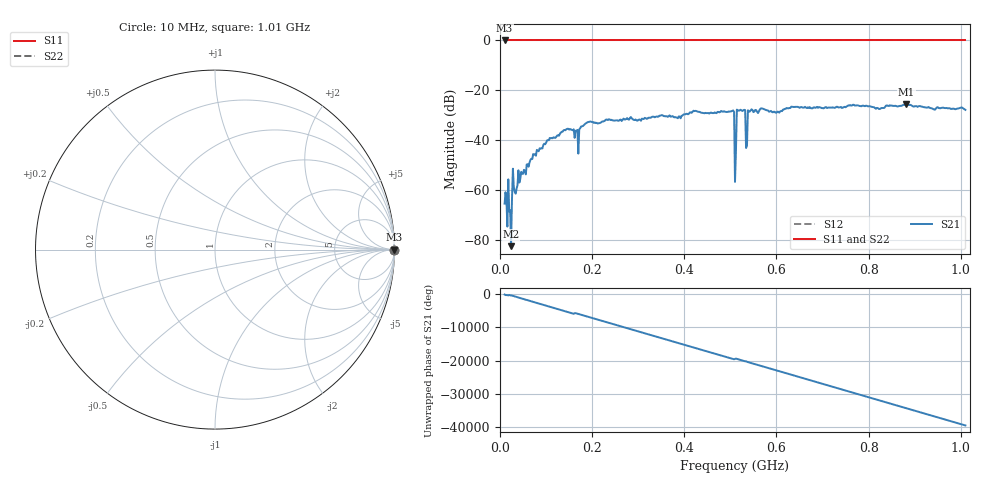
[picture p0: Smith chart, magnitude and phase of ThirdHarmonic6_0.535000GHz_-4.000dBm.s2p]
! 8/15/2025 4:42:10 PM
! C:\ANRITSUVNA\TEMP\TEMP.S2P
! CHANNEL.1
! TR.MEASUREMENT
! RAW.DATA
! RF.CORRECTION.OFF
! AVERAGING.OFF
! IF.BANDWIDTH: 5KHZ
! SWEEPTYPE:  FREQ.SWEEP(Linear)
! Reference Plane Port Info
! PORT:  PORT1  PORT2
! DISTANCE:  0  m  0  m
! TIME:  0  s  0  s
! PHASE.OFFSET:  0  deg.  0  deg.
! LOSS:  0  dB  0  dB
! REF.LOSS:  0  dB  0  dB
! REF.FREQ:  0  Hz  0  Hz
! Power Info
! POWER:  -20  dBm  -20  dBm
! EFF.POWER:  -20  dBm  -20  dBm
! SOURCE.ATTEN:  0  dB  0  dB
! TEST.ATTEN:  0  dB  0  dB
# GHZ S RI R 50.0
! FREQ.GHZ  S11RE  S11IM  S21RE  S21IM  S12RE  S12IM  S22RE  S22IM
!; PortSelection: Port_12
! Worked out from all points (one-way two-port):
!   501 points, 10 MHz to 1.01 GHz, reference 50 ohm
!   highest |S21| = -25.61 dB at 882 MHz (marker M1); lowest = -82.3 dB at 24 MHz (marker M2)
!   lowest |S11| = 0.0 dB at 10 MHz (marker M3)
!   |S11| at or under -10 dB: nowhere
!   |S22| runs from 0.0 to 0.0 dB; largest |S21 - S12| = 1.1
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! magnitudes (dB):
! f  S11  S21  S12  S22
! 10 MHz  0.0  -65.3  0.0  0.0
! 20 MHz  0.0  -68.5  0.0  0.0
! 24 MHz  0.0  -82.3  0.0  0.0
! 32 MHz  0.0  -60.6  0.0  0.0
! 76 MHz  0.0  -45.5  0.0  0.0
! 142 MHz  0.0  -35.9  0.0  0.0
! 166 MHz  0.0  -36.2  0.0  0.0
! 178 MHz  0.0  -34.3  0.0  0.0
! 344 MHz  0.0  -30.5  0.0  0.0
! 504 MHz  0.0  -28.2  0.0  0.0
! 508 MHz  0.0  -28.6  0.0  0.0
! 510 MHz  0.0  -56.6  0.0  0.0
! 514 MHz  0.0  -27.7  0.0  0.0
! 518 MHz  0.0  -28.1  0.0  0.0
! 528 MHz  0.0  -28.0  0.0  0.0
! 532 MHz  0.0  -27.9  0.0  0.0
! 538 MHz  0.0  -27.9  0.0  0.0
! 542 MHz  0.0  -28.5  0.0  0.0
! 678 MHz  0.0  -27.2  0.0  0.0
! 844 MHz  0.0  -26.2  0.0  0.0
! 882 MHz  0.0  -25.6  0.0  0.0
! 1.01 GHz  0.0  -27.8  0.0  0.0
